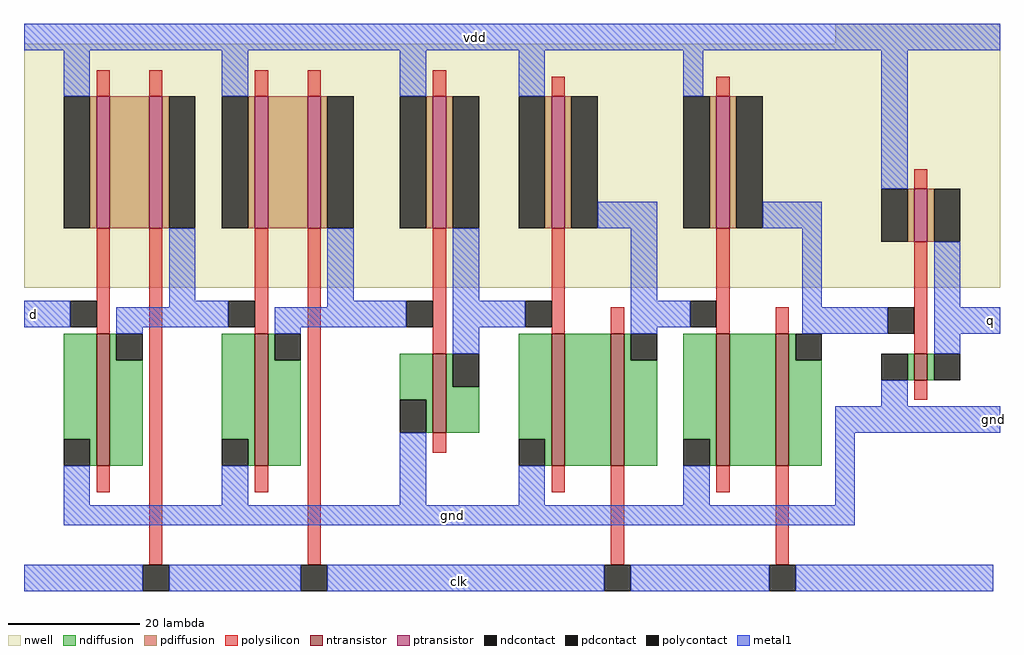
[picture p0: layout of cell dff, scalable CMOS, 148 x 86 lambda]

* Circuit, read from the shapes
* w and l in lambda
.subckt dff clk d gnd q vdd
M1 n1 d gnd VSUBS nfet w=20 l=2
M2 n2 n1 gnd VSUBS nfet w=20 l=2
M3 n3 n2 gnd VSUBS nfet w=12 l=2
M4 n4 n3 gnd VSUBS nfet w=20 l=2
M5 n5 clk n4 VSUBS nfet w=20 l=2
M6 n6 n5 gnd VSUBS nfet w=20 l=2
M7 n7 clk n6 VSUBS nfet w=20 l=2
M8 q n7 gnd VSUBS nfet w=4 l=2
M9 n8 d vdd n9 pfet w=20 l=2
M10 n1 clk n8 n9 pfet w=20 l=2
M11 n10 n1 vdd n9 pfet w=20 l=2
M12 n2 clk n10 n9 pfet w=20 l=2
M13 n3 n2 vdd n9 pfet w=20 l=2
M14 n5 n3 vdd n9 pfet w=20 l=2
M15 n7 n5 vdd n9 pfet w=20 l=2
M16 q n7 vdd n9 pfet w=8 l=2
.ends

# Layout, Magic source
magic
tech scmos
<< nwell >>
rect 193 24 218 27
rect 70 -13 218 24
<< ntransistor >>
rect 81 -40 83 -20
rect 105 -40 107 -20
rect 132 -35 134 -23
rect 150 -40 152 -20
rect 159 -40 161 -20
rect 175 -40 177 -20
rect 184 -40 186 -20
rect 205 -27 207 -23
<< ptransistor >>
rect 81 -4 83 16
rect 89 -4 91 16
rect 105 -4 107 16
rect 113 -4 115 16
rect 132 -4 134 16
rect 150 -4 152 16
rect 175 -4 177 16
rect 205 -6 207 2
<< ndiffusion >>
rect 76 -36 81 -20
rect 80 -40 81 -36
rect 83 -24 84 -20
rect 83 -40 88 -24
rect 100 -36 105 -20
rect 104 -40 105 -36
rect 107 -24 108 -20
rect 107 -40 112 -24
rect 127 -30 132 -23
rect 131 -35 132 -30
rect 134 -28 135 -23
rect 134 -35 139 -28
rect 145 -36 150 -20
rect 149 -40 150 -36
rect 152 -40 159 -20
rect 161 -24 162 -20
rect 161 -40 166 -24
rect 170 -36 175 -20
rect 174 -40 175 -36
rect 177 -40 184 -20
rect 186 -24 187 -20
rect 186 -40 191 -24
rect 204 -27 205 -23
rect 207 -27 208 -23
<< pdiffusion >>
rect 80 -4 81 16
rect 83 -4 89 16
rect 91 -4 92 16
rect 104 -4 105 16
rect 107 -4 113 16
rect 115 -4 116 16
rect 131 -4 132 16
rect 134 -4 135 16
rect 149 -4 150 16
rect 152 -4 153 16
rect 174 -4 175 16
rect 177 -4 178 16
rect 204 -6 205 2
rect 207 -6 208 2
<< ndcontact >>
rect 76 -40 80 -36
rect 84 -24 88 -20
rect 100 -40 104 -36
rect 108 -24 112 -20
rect 127 -35 131 -30
rect 135 -28 139 -23
rect 145 -40 149 -36
rect 162 -24 166 -20
rect 170 -40 174 -36
rect 187 -24 191 -20
rect 200 -27 204 -23
rect 208 -27 212 -23
<< pdcontact >>
rect 76 -4 80 16
rect 92 -4 96 16
rect 100 -4 104 16
rect 116 -4 120 16
rect 127 -4 131 16
rect 135 -4 139 16
rect 145 -4 149 16
rect 153 -4 157 16
rect 170 -4 174 16
rect 178 -4 182 16
rect 200 -6 204 2
rect 208 -6 212 2
<< polysilicon >>
rect 81 16 83 20
rect 89 16 91 20
rect 105 16 107 20
rect 113 16 115 20
rect 132 16 134 20
rect 150 16 152 19
rect 175 16 177 19
rect 205 2 207 5
rect 81 -20 83 -4
rect 81 -44 83 -40
rect 89 -55 91 -4
rect 105 -20 107 -4
rect 105 -44 107 -40
rect 113 -55 115 -4
rect 132 -23 134 -4
rect 150 -20 152 -4
rect 159 -20 161 -16
rect 175 -20 177 -4
rect 184 -20 186 -16
rect 132 -38 134 -35
rect 205 -23 207 -6
rect 205 -30 207 -27
rect 150 -44 152 -40
rect 159 -55 161 -40
rect 175 -44 177 -40
rect 184 -55 186 -40
<< polycontact >>
rect 77 -19 81 -15
rect 101 -19 105 -15
rect 128 -19 132 -15
rect 146 -19 150 -15
rect 171 -19 175 -15
rect 201 -20 205 -16
rect 88 -59 92 -55
rect 112 -59 116 -55
rect 158 -59 162 -55
rect 183 -59 187 -55
<< metal1 >>
rect 70 23 218 27
rect 76 16 80 23
rect 100 16 104 23
rect 127 16 131 23
rect 145 16 149 23
rect 170 16 173 23
rect 157 -4 166 0
rect 200 2 204 23
rect 182 -4 191 0
rect 92 -15 96 -4
rect 116 -15 120 -4
rect 135 -15 139 -4
rect 162 -15 166 -4
rect 70 -19 77 -15
rect 92 -16 101 -15
rect 84 -19 101 -16
rect 116 -16 128 -15
rect 108 -19 128 -16
rect 135 -19 146 -15
rect 162 -19 171 -15
rect 188 -16 191 -4
rect 208 -16 212 -6
rect 84 -20 88 -19
rect 108 -20 112 -19
rect 135 -23 139 -19
rect 162 -20 166 -19
rect 188 -20 201 -16
rect 208 -20 218 -16
rect 208 -23 212 -20
rect 200 -31 204 -27
rect 76 -46 80 -40
rect 100 -46 104 -40
rect 127 -46 131 -35
rect 193 -35 218 -31
rect 145 -46 149 -40
rect 170 -46 174 -40
rect 193 -46 196 -35
rect 76 -49 196 -46
rect 70 -59 88 -55
rect 92 -59 112 -55
rect 116 -59 158 -55
rect 162 -59 183 -55
rect 187 -59 217 -55
<< labels >>
rlabel metal1 86 24 191 26 5 vdd
rlabel metal1 70 -19 73 -15 3 d
rlabel metal1 133 -59 139 -56 1 clk
rlabel metal1 128 -49 142 -46 1 gnd
rlabel metal1 217 -33 217 -33 8 gnd
rlabel metal1 215 -20 218 -16 7 q
<< end >>
